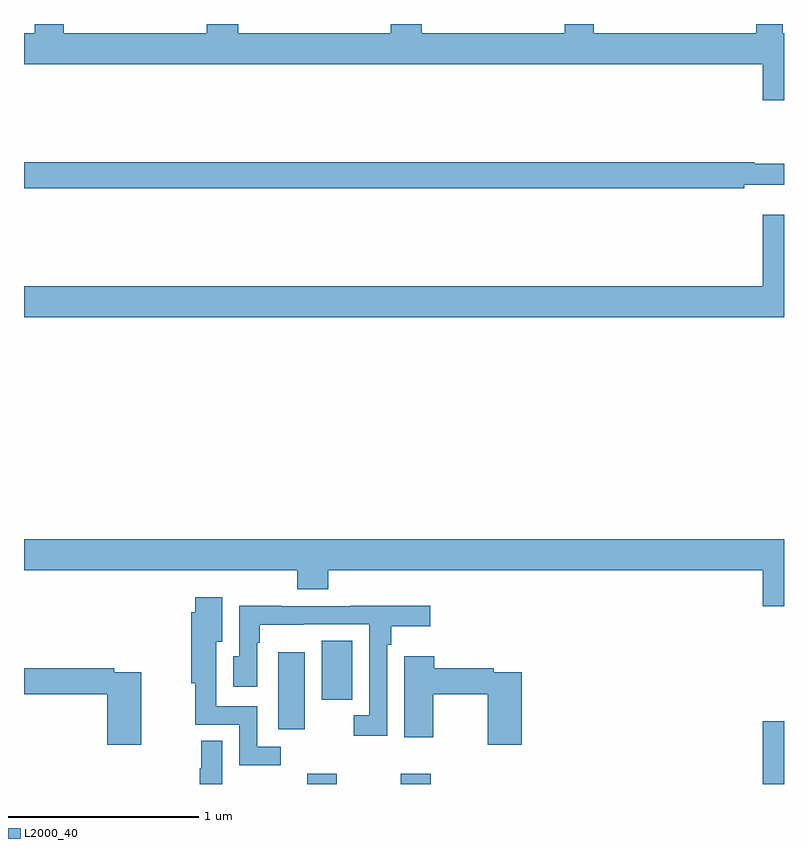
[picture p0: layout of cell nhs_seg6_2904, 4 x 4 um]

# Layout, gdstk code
import gdstk
lib = gdstk.Library(unit=1e-6, precision=1e-09)
def R(c, l, rs):  # rectangles x0, y0, x1, y1
    for r in rs: c.add(gdstk.rectangle(r[:2], r[2:], *l))
def P(c, l, *ps):  # polygons
    for p in ps: c.add(gdstk.Polygon(p, *l))
L2000_40 = (2000, 40)

nhs_seg6_2904 = lib.new_cell('nhs_seg6_2904')
R(nhs_seg6_2904, L2000_40, [(282.49,991.5,282.645,991.555), (282.982,991.5,283.142,991.555), (284.888,991.5,285,991.831), (282.338,991.788,282.478,992.194), (282.566,991.944,282.727,992.255)])
P(nhs_seg6_2904, L2000_40, [(285,995.452),(284.994,995.452),(284.994,995.5),(284.855,995.5),(284.855,995.452),(283.999,995.452),(283.999,995.5),(283.847,995.5),(283.847,995.452),(283.094,995.452),(283.094,995.5),(282.929,995.5),(282.929,995.452),(282.128,995.452),(282.128,995.5),(281.963,995.5),(281.963,995.452),(281.21,995.452),(281.21,995.5),(281.057,995.5),(281.057,995.452),(281,995.452),(281,995.288),(284.888,995.288),(284.888,995.1),(285,995.1)],
  [(284.792,994.655),(285,994.655),(285,994.765),(284.843,994.765),(284.843,994.772),(281,994.772),(281,994.636),(284.792,994.636)],
  [(285,994.495),(284.888,994.495),(284.888,994.12),(281,994.12),(281,993.956),(285,993.956)],
  [(285,992.788),(281,992.788),(281,992.624),(282.437,992.624),(282.437,992.525),(282.602,992.525),(282.602,992.624),(284.888,992.624),(284.888,992.436),(285,992.436)],
  [(282.352,991.695),(282.228,991.695),(282.228,991.908),(282.013,991.908),(282.013,992.249),(282.043,992.249),(282.043,992.482),(281.9,992.482),(281.9,992.403),(281.879,992.403),(281.879,992.031),(281.902,992.031),(281.902,991.812),(282.132,991.812),(282.132,991.598),(282.352,991.598)],
  [(282.912,992.234),(282.932,992.234),(282.932,992.33),(283.138,992.33),(283.138,992.438),(282.719,992.438),(282.719,992.436),(282.353,992.436),(282.353,992.438),(282.132,992.438),(282.132,992.172),(282.101,992.172),(282.101,992.013),(282.228,992.013),(282.228,992.243),(282.241,992.243),(282.241,992.339),(282.47,992.339),(282.47,992.34),(282.816,992.34),(282.816,991.863),(282.735,991.863),(282.735,991.755),(282.912,991.755)],
  [(283.619,992.088),(283.472,992.088),(283.472,992.108),(283.16,992.108),(283.16,992.173),(283.001,992.173),(283.001,991.746),(283.155,991.746),(283.155,991.972),(283.441,991.972),(283.441,991.707),(283.619,991.707)],
  [(281.616,992.088),(281.474,992.088),(281.474,992.108),(281,992.108),(281,991.972),(281.438,991.972),(281.438,991.707),(281.616,991.707)],
  [(282.043,991.727),(281.932,991.727),(281.932,991.584),(281.925,991.584),(281.925,991.5),(282.043,991.5)])

lib.write_gds('nhs_seg6_2904.gds')
